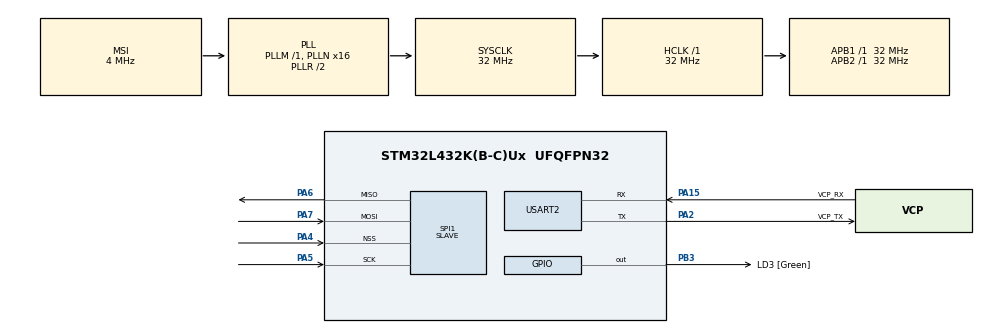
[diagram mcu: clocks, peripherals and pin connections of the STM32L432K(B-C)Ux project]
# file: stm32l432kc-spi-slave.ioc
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Dma.Request0=SPI1_RX
Dma.Request1=SPI1_TX
Dma.SPI1_RX.0.Direction=DMA_PERIPH_TO_MEMORY
Dma.SPI1_RX.0.Instance=DMA1_Channel2
Dma.SPI1_RX.0.MemDataAlignment=DMA_MDATAALIGN_BYTE
Dma.SPI1_RX.0.MemInc=DMA_MINC_ENABLE
Dma.SPI1_RX.0.Mode=DMA_NORMAL
Dma.SPI1_RX.0.PeriphDataAlignment=DMA_PDATAALIGN_BYTE
Dma.SPI1_RX.0.PeriphInc=DMA_PINC_DISABLE
Dma.SPI1_RX.0.Priority=DMA_PRIORITY_HIGH
Dma.SPI1_TX.1.Direction=DMA_MEMORY_TO_PERIPH
Dma.SPI1_TX.1.Instance=DMA1_Channel3
Dma.SPI1_TX.1.MemDataAlignment=DMA_MDATAALIGN_BYTE
Dma.SPI1_TX.1.MemInc=DMA_MINC_ENABLE
Dma.SPI1_TX.1.Mode=DMA_NORMAL
Dma.SPI1_TX.1.PeriphDataAlignment=DMA_PDATAALIGN_BYTE
Dma.SPI1_TX.1.PeriphInc=DMA_PINC_DISABLE
Dma.SPI1_TX.1.Priority=DMA_PRIORITY_HIGH
Mcu.Family=STM32L4
Mcu.Name=STM32L432K(B-C)Ux
Mcu.Package=UFQFPN32
NVIC.DMA1_Channel2_IRQn=true\:0\:0\:false\:false\:true\:false\:true\:true
NVIC.DMA1_Channel3_IRQn=true\:0\:0\:false\:false\:true\:false\:true\:true
NVIC.PriorityGroup=NVIC_PRIORITYGROUP_4
NVIC.SPI1_IRQn=true\:0\:0\:false\:false\:true\:true\:true\:true
PA0.GPIO_Label=MCO [High speed clock in]
PA0.Mode=HSE-External-Clock-Source-for-LittleOrca
PA0.Signal=RCC_CK_IN
PA13\ (JTMS-SWDIO).GPIO_Label=SWDIO
PA13\ (JTMS-SWDIO).Mode=Serial_Wire
PA13\ (JTMS-SWDIO).Signal=SYS_JTMS-SWDIO
PA14\ (JTCK-SWCLK).GPIO_Label=SWCLK
PA14\ (JTCK-SWCLK).Mode=Serial_Wire
PA14\ (JTCK-SWCLK).Signal=SYS_JTCK-SWCLK
PA15\ (JTDI).GPIO_Label=VCP_RX
PA15\ (JTDI).Mode=Asynchronous
PA15\ (JTDI).Signal=USART2_RX
PA2.GPIO_Label=VCP_TX
PA2.Mode=Asynchronous
PA2.Signal=USART2_TX
PA4.Mode=NSS_Signal_Hard_Input
PA4.Signal=SPI1_NSS
PA5.Mode=Full_Duplex_Slave
PA5.Signal=SPI1_SCK
PA6.Mode=Full_Duplex_Slave
PA6.Signal=SPI1_MISO
PA7.Mode=Full_Duplex_Slave
PA7.Signal=SPI1_MOSI
PB3\ (JTDO-TRACESWO).GPIO_Label=LD3 [Green]
PB3\ (JTDO-TRACESWO).Signal=GPIO_Output
PC14-OSC32_IN\ (PC14).Mode=LSE-External-Oscillator
PC14-OSC32_IN\ (PC14).Signal=RCC_OSC32_IN
PC15-OSC32_OUT\ (PC15).Mode=LSE-External-Oscillator
PC15-OSC32_OUT\ (PC15).Signal=RCC_OSC32_OUT
ProjectManager.HeapSize=0x200
ProjectManager.StackSize=0x400
ProjectManager.TargetToolchain=STM32CubeIDE
RCC.AHBFreq_Value=32000000
RCC.APB1Freq_Value=32000000
RCC.APB1TimFreq_Value=32000000
RCC.APB2Freq_Value=32000000
RCC.APB2TimFreq_Value=32000000
RCC.CortexFreq_Value=32000000
RCC.HCLKFreq_Value=32000000
RCC.HSE_VALUE=8000000
RCC.HSI16_VALUE=16000000
RCC.HSI48_VALUE=48000000
RCC.HSI_VALUE=16000000
RCC.MSI_VALUE=4000000
RCC.PLLMUL=RCC_PLLMUL_4
RCC.PLLN=16
RCC.SYSCLKFreq_VALUE=32000000
RCC.SYSCLKSource=RCC_SYSCLKSOURCE_PLLCLK
RCC.VCOOutputFreq_Value=64000000
SPI1.DataSize=SPI_DATASIZE_8BIT
SPI1.Direction=SPI_DIRECTION_2LINES
SPI1.Mode=SPI_MODE_SLAVE
SPI1.VirtualNSS=VM_NSSHARD
SPI1.VirtualType=VM_SLAVE
USART2.VirtualMode-Asynchronous=VM_ASYNC
board=NUCLEO-L432KC

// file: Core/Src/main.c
/* USER CODE BEGIN Header */
/**
  ******************************************************************************
  * @file           : main.c
  * @brief          : Main program body
  ******************************************************************************
  * @attention
  *
  * Copyright (c) 2026 STMicroelectronics.
  * All rights reserved.
  *
  * This software is licensed under terms that can be found in the LICENSE file
  * in the root directory of this software component.
  * If no LICENSE file comes with this software, it is provided AS-IS.
  *
  ******************************************************************************
  */
/* USER CODE END Header */
#include "main.h"

/* USER CODE BEGIN Includes */

#include <string.h>
#include <stdio.h>

/* USER CODE END Includes */

SPI_HandleTypeDef hspi1;
DMA_HandleTypeDef hdma_spi1_rx;
DMA_HandleTypeDef hdma_spi1_tx;

UART_HandleTypeDef huart2;

/* USER CODE BEGIN PV */

#define BUFFER_SIZE 8
uint8_t rxData[BUFFER_SIZE+1]; // Provide one additional byte for null termination
uint8_t txData[BUFFER_SIZE+1] = {'r', 'e', 's', 'p', 'o', 'n', 's', 'e', 'x'};
volatile uint8_t spi_rx_complete = 0;
char msg[128];

/* USER CODE END PV */

void SystemClock_Config(void);
static void MX_GPIO_Init(void);
static void MX_DMA_Init(void);
static void MX_USART2_UART_Init(void);
static void MX_SPI1_Init(void);

/* USER CODE BEGIN 0 */

void HAL_SPI_TxRxCpltCallback(SPI_HandleTypeDef *hspi) {
    if (hspi->Instance == SPI1) {
        // Data in rx_buffer is ready; tx_buffer has been sent.
      spi_rx_complete = 1;

      snprintf(msg, sizeof(msg), "HAL_SPI_TxRxCpltCallback\r\n");
      HAL_UART_Transmit(&huart2, (uint8_t*)msg, strlen(msg), HAL_MAX_DELAY);
    }
}

void HAL_SPI_RxCpltCallback(SPI_HandleTypeDef *hspi) {
  if (hspi->Instance == SPI1) {
    // Trigger TX start
    HAL_SPI_Transmit_DMA(hspi, txData, BUFFER_SIZE);

    snprintf(msg, sizeof(msg), "HAL_SPI_RxCpltCallback: Triggering TX\r\n");
    HAL_UART_Transmit(&huart2, (uint8_t*)msg, strlen(msg), HAL_MAX_DELAY);
  }
}

void HAL_SPI_TxCpltCallback(SPI_HandleTypeDef *hspi) {
  if (hspi->Instance == SPI1) {
    spi_rx_complete = 1; // Signal completion of RX-TX cycle

    snprintf(msg, sizeof(msg), "HAL_SPI_TxCpltCallback: Signaled end of RX-TX cycle\r\n");
    HAL_UART_Transmit(&huart2, (uint8_t*)msg, strlen(msg), HAL_MAX_DELAY);
  }
}

// Called if an error occurs during transfer
void HAL_SPI_ErrorCallback(SPI_HandleTypeDef *hspi) {
    if (hspi->Instance == SPI1) {
      spi_rx_complete = 0;

      uint32_t err = HAL_SPI_GetError(hspi);

      if (err == HAL_SPI_ERROR_NONE) {
        snprintf(msg, sizeof(msg), "HAL_SPI_ErrorCallback: HAL_SPI_ERROR_NONE\r\n");
        HAL_UART_Transmit(&huart2, (uint8_t*)msg, strlen(msg), HAL_MAX_DELAY);

        // Note that even with HAL_SPI_ERROR_NONE, we should still reset SPI

      } else if (err & HAL_SPI_ERROR_OVR) {
        snprintf(msg, sizeof(msg), "HAL_SPI_ErrorCallback: HAL_SPI_ERROR_OVR\r\n");
        HAL_UART_Transmit(&huart2, (uint8_t*)msg, strlen(msg), HAL_MAX_DELAY);
      } else {
        // Some other error
        snprintf(msg, sizeof(msg), "HAL_SPI_ErrorCallback: %lu\r\n", err);
        HAL_UART_Transmit(&huart2, (uint8_t*)msg, strlen(msg), HAL_MAX_DELAY);
      }

      // 1. Stop current DMA transfer
      HAL_SPI_DMAStop(hspi);

      // 2. Perform a "Hard Reset" of the SPI peripheral to clear internal FIFOs
      // This is often more reliable than just calling Init again
      __HAL_RCC_SPI1_FORCE_RESET();
      __HAL_RCC_SPI1_RELEASE_RESET();

      // 3. Re-initialize the SPI
      HAL_SPI_Init(hspi);

      // 4. (Optional) Re-trigger the slave to be ready for the next master transfer
      memset(rxData, 0, sizeof(rxData));
      HAL_SPI_TransmitReceive_DMA(hspi, txData, rxData, BUFFER_SIZE);
    }
}

/* USER CODE END 0 */

int main(void)
{

  /* MCU Configuration--------------------------------------------------------*/

  /* Reset of all peripherals, Initializes the Flash interface and the Systick. */
  HAL_Init();

  /* USER CODE BEGIN Init */

  // This avoids an issue where the program hangs after debug launch and using SPI.
  // However, we may also need to change the Reset debugger option to "Core reset".
  // There are still  conditions the hardware can get into which require a full power cycle of the board.
//  __HAL_RCC_SPI1_FORCE_RESET();
//  __HAL_RCC_SPI1_RELEASE_RESET();
//  HAL_SPI_Init(&hspi1);

  /* USER CODE END Init */

  /* Configure the system clock */
  SystemClock_Config();

  /* Initialize all configured peripherals */
  MX_GPIO_Init();
  MX_DMA_Init();
  MX_USART2_UART_Init();
  MX_SPI1_Init();
  /* USER CODE BEGIN 2 */

  // Clear RX buffer
  memset(rxData, 0, sizeof(rxData));

  snprintf(msg, sizeof(msg), "Starting DMA TX-RX.\r\n");
  HAL_UART_Transmit(&huart2, (uint8_t*)msg, strlen(msg), HAL_MAX_DELAY);

  spi_rx_complete = 0;
  HAL_SPI_TransmitReceive_DMA(&hspi1, txData, rxData, BUFFER_SIZE);

  // Restart RX-TX cycle, which will trigger TX in RX complete handler
//  HAL_SPI_Receive_DMA(&hspi1, rxData, BUFFER_SIZE);

  /* USER CODE END 2 */

  /* Infinite loop */
  while (1)
  {

    /* USER CODE BEGIN 3 */

    if (spi_rx_complete) {
      spi_rx_complete = 0;

      snprintf(msg, sizeof(msg), "Last received message: %s\r\n", rxData);
      HAL_UART_Transmit(&huart2, (uint8_t*)msg, strlen(msg), HAL_MAX_DELAY);

      memset(rxData, 0, sizeof(rxData));
      HAL_SPI_TransmitReceive_DMA(&hspi1, txData, rxData, BUFFER_SIZE);

      // Restart RX-TX cycle, which will trigger TX in RX complete handler
//      HAL_SPI_Receive_DMA(&hspi1, rxData, BUFFER_SIZE);

      snprintf(msg, sizeof(msg), "Re-enabled TX-RX.\r\n");
      HAL_UART_Transmit(&huart2, (uint8_t*)msg, strlen(msg), HAL_MAX_DELAY);
    }

    HAL_GPIO_TogglePin(GPIOB, GPIO_PIN_3);

    HAL_Delay(50);
  }
  /* USER CODE END 3 */
}

void SystemClock_Config(void)
{
  RCC_OscInitTypeDef RCC_OscInitStruct = {0};
  RCC_ClkInitTypeDef RCC_ClkInitStruct = {0};

  /** Configure the main internal regulator output voltage
  */
  if (HAL_PWREx_ControlVoltageScaling(PWR_REGULATOR_VOLTAGE_SCALE1) != HAL_OK)
  {
    Error_Handler();
  }

  /** Configure LSE Drive Capability
  */
  HAL_PWR_EnableBkUpAccess();
  __HAL_RCC_LSEDRIVE_CONFIG(RCC_LSEDRIVE_LOW);

  /** Initializes the RCC Oscillators according to the specified parameters
  * in the RCC_OscInitTypeDef structure.
  */
  RCC_OscInitStruct.OscillatorType = RCC_OSCILLATORTYPE_LSE|RCC_OSCILLATORTYPE_MSI;
  RCC_OscInitStruct.LSEState = RCC_LSE_ON;
  RCC_OscInitStruct.MSIState = RCC_MSI_ON;
  RCC_OscInitStruct.MSICalibrationValue = 0;
  RCC_OscInitStruct.MSIClockRange = RCC_MSIRANGE_6;
  RCC_OscInitStruct.PLL.PLLState = RCC_PLL_ON;
  RCC_OscInitStruct.PLL.PLLSource = RCC_PLLSOURCE_MSI;
  RCC_OscInitStruct.PLL.PLLM = 1;
  RCC_OscInitStruct.PLL.PLLN = 16;
  RCC_OscInitStruct.PLL.PLLP = RCC_PLLP_DIV7;
  RCC_OscInitStruct.PLL.PLLQ = RCC_PLLQ_DIV2;
  RCC_OscInitStruct.PLL.PLLR = RCC_PLLR_DIV2;
  if (HAL_RCC_OscConfig(&RCC_OscInitStruct) != HAL_OK)
  {
    Error_Handler();
  }

  /** Initializes the CPU, AHB and APB buses clocks
  */
  RCC_ClkInitStruct.ClockType = RCC_CLOCKTYPE_HCLK|RCC_CLOCKTYPE_SYSCLK
                              |RCC_CLOCKTYPE_PCLK1|RCC_CLOCKTYPE_PCLK2;
  RCC_ClkInitStruct.SYSCLKSource = RCC_SYSCLKSOURCE_PLLCLK;
  RCC_ClkInitStruct.AHBCLKDivider = RCC_SYSCLK_DIV1;
  RCC_ClkInitStruct.APB1CLKDivider = RCC_HCLK_DIV1;
  RCC_ClkInitStruct.APB2CLKDivider = RCC_HCLK_DIV1;

  if (HAL_RCC_ClockConfig(&RCC_ClkInitStruct, FLASH_LATENCY_1) != HAL_OK)
  {
    Error_Handler();
  }

  /** Enable MSI Auto calibration
  */
  HAL_RCCEx_EnableMSIPLLMode();
}

static void MX_SPI1_Init(void)
{

  /* SPI1 parameter configuration*/
  hspi1.Instance = SPI1;
  hspi1.Init.Mode = SPI_MODE_SLAVE;
  hspi1.Init.Direction = SPI_DIRECTION_2LINES;
  hspi1.Init.DataSize = SPI_DATASIZE_8BIT;
  hspi1.Init.CLKPolarity = SPI_POLARITY_LOW;
  hspi1.Init.CLKPhase = SPI_PHASE_1EDGE;
  hspi1.Init.NSS = SPI_NSS_HARD_INPUT;
  hspi1.Init.FirstBit = SPI_FIRSTBIT_MSB;
  hspi1.Init.TIMode = SPI_TIMODE_DISABLE;
  hspi1.Init.CRCCalculation = SPI_CRCCALCULATION_DISABLE;
  hspi1.Init.CRCPolynomial = 7;
  hspi1.Init.CRCLength = SPI_CRC_LENGTH_DATASIZE;
  hspi1.Init.NSSPMode = SPI_NSS_PULSE_DISABLE;
  if (HAL_SPI_Init(&hspi1) != HAL_OK)
  {
    Error_Handler();
  }

}

static void MX_USART2_UART_Init(void)
{

  huart2.Instance = USART2;
  huart2.Init.BaudRate = 115200;
  huart2.Init.WordLength = UART_WORDLENGTH_8B;
  huart2.Init.StopBits = UART_STOPBITS_1;
  huart2.Init.Parity = UART_PARITY_NONE;
  huart2.Init.Mode = UART_MODE_TX_RX;
  huart2.Init.HwFlowCtl = UART_HWCONTROL_NONE;
  huart2.Init.OverSampling = UART_OVERSAMPLING_16;
  huart2.Init.OneBitSampling = UART_ONE_BIT_SAMPLE_DISABLE;
  huart2.AdvancedInit.AdvFeatureInit = UART_ADVFEATURE_NO_INIT;
  if (HAL_UART_Init(&huart2) != HAL_OK)
  {
    Error_Handler();
  }

}

static void MX_DMA_Init(void)
{

  /* DMA controller clock enable */
  __HAL_RCC_DMA1_CLK_ENABLE();

  /* DMA interrupt init */
  /* DMA1_Channel2_IRQn interrupt configuration */
  HAL_NVIC_SetPriority(DMA1_Channel2_IRQn, 0, 0);
  HAL_NVIC_EnableIRQ(DMA1_Channel2_IRQn);
  /* DMA1_Channel3_IRQn interrupt configuration */
  HAL_NVIC_SetPriority(DMA1_Channel3_IRQn, 0, 0);
  HAL_NVIC_EnableIRQ(DMA1_Channel3_IRQn);

}

static void MX_GPIO_Init(void)
{
  GPIO_InitTypeDef GPIO_InitStruct = {0};

  /* GPIO Ports Clock Enable */
  __HAL_RCC_GPIOC_CLK_ENABLE();
  __HAL_RCC_GPIOA_CLK_ENABLE();
  __HAL_RCC_GPIOB_CLK_ENABLE();

  /*Configure GPIO pin Output Level */
  HAL_GPIO_WritePin(LD3_GPIO_Port, LD3_Pin, GPIO_PIN_RESET);

  /*Configure GPIO pin : LD3_Pin */
  GPIO_InitStruct.Pin = LD3_Pin;
  GPIO_InitStruct.Mode = GPIO_MODE_OUTPUT_PP;
  GPIO_InitStruct.Pull = GPIO_NOPULL;
  GPIO_InitStruct.Speed = GPIO_SPEED_FREQ_LOW;
  HAL_GPIO_Init(LD3_GPIO_Port, &GPIO_InitStruct);

}

void Error_Handler(void)
{
  __disable_irq();
  while (1)
  {
  }
}
